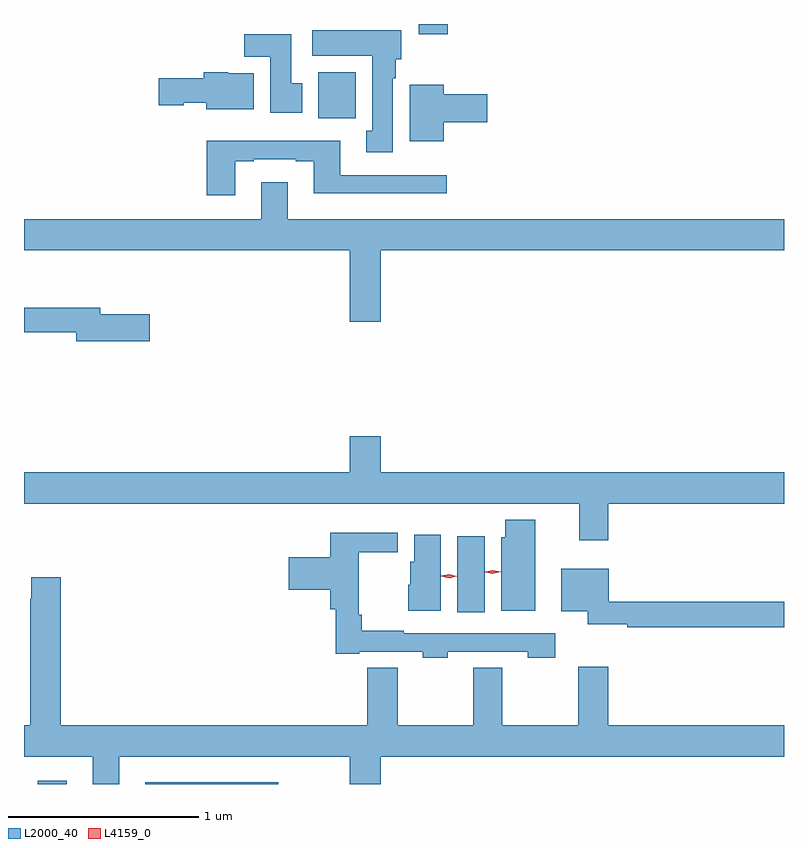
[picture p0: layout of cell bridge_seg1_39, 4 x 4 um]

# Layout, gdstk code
import gdstk
lib = gdstk.Library(unit=1e-6, precision=1e-09)
def R(c, l, rs):  # rectangles x0, y0, x1, y1
    for r in rs: c.add(gdstk.rectangle(r[:2], r[2:], *l))
def P(c, l, *ps):  # polygons
    for p in ps: c.add(gdstk.Polygon(p, *l))
L2000_40 = (2000, 40)
L4159_0 = (4159, 0)

bridge_seg1_39 = lib.new_cell('bridge_seg1_39')
R(bridge_seg1_39, L2000_40, [(1014.515,559.58,1014.667,559.597), (1015.079,559.58,1015.78,559.588), (1016.723,560.484,1016.866,560.884), (1015.991,563.084,1016.188,563.326), (1016.519,563.526,1016.672,563.58)])
P(bridge_seg1_39, L2000_40, [(1016.383,563.294),(1016.398,563.294),(1016.398,563.394),(1016.428,563.394),(1016.428,563.548),(1015.959,563.548),(1015.959,563.414),(1016.276,563.414),(1016.276,563.018),(1016.243,563.018),(1016.243,562.905),(1016.383,562.905)],
  [(1015.906,563.268),(1015.849,563.268),(1015.849,563.527),(1015.6,563.527),(1015.6,563.408),(1015.739,563.408),(1015.739,563.112),(1015.906,563.112)],
  [(1015.651,563.32),(1015.518,563.32),(1015.518,563.326),(1015.388,563.326),(1015.388,563.295),(1015.152,563.295),(1015.152,563.153),(1015.284,563.153),(1015.284,563.165),(1015.4,563.165),(1015.4,563.132),(1015.651,563.132)],
  [(1016.65,563.063),(1016.881,563.063),(1016.881,563.21),(1016.65,563.21),(1016.65,563.26),(1016.471,563.26),(1016.471,562.964),(1016.65,562.964)],
  [(1015.555,562.857),(1015.651,562.857),(1015.651,562.869),(1015.871,562.869),(1015.871,562.857),(1015.967,562.857),(1015.967,562.688),(1016.668,562.688),(1016.668,562.785),(1016.107,562.785),(1016.107,562.966),(1015.403,562.966),(1015.403,562.68),(1015.555,562.68)],
  [(1016.32,562.388),(1018.442,562.388),(1018.442,562.552),(1015.831,562.552),(1015.831,562.747),(1015.691,562.747),(1015.691,562.552),(1014.442,562.552),(1014.442,562.388),(1016.156,562.388),(1016.156,562.014),(1016.32,562.014)],
  [(1015.105,562.053),(1014.844,562.053),(1014.844,562.087),(1014.442,562.087),(1014.442,561.958),(1014.716,561.958),(1014.716,561.911),(1015.105,561.911)],
  [(1017.518,561.056),(1018.442,561.056),(1018.442,561.22),(1016.32,561.22),(1016.32,561.409),(1016.156,561.409),(1016.156,561.22),(1014.442,561.22),(1014.442,561.056),(1017.365,561.056),(1017.365,560.862),(1017.518,560.862)],
  [(1017.133,560.971),(1016.975,560.971),(1016.975,560.88),(1016.954,560.88),(1016.954,560.492),(1017.133,560.492)],
  [(1016.673,560.277),(1017.093,560.277),(1017.093,560.245),(1017.238,560.245),(1017.238,560.373),(1016.441,560.373),(1016.441,560.386),(1016.219,560.386),(1016.219,560.47),(1016.204,560.47),(1016.204,560.8),(1016.41,560.8),(1016.41,560.902),(1016.054,560.902),(1016.054,560.773),(1015.836,560.773),(1015.836,560.603),(1016.054,560.603),(1016.054,560.501),(1016.083,560.501),(1016.083,560.265),(1016.206,560.265),(1016.206,560.277),(1016.541,560.277),(1016.541,560.245),(1016.673,560.245)],
  [(1016.635,560.893),(1016.495,560.893),(1016.495,560.751),(1016.474,560.751),(1016.474,560.628),(1016.465,560.628),(1016.465,560.492),(1016.635,560.492)],
  [(1018.442,560.54),(1017.52,560.54),(1017.52,560.713),(1017.269,560.713),(1017.269,560.489),(1017.41,560.489),(1017.41,560.422),(1017.616,560.422),(1017.616,560.404),(1018.442,560.404)],
  [(1014.943,559.724),(1016.156,559.724),(1016.156,559.58),(1016.32,559.58),(1016.32,559.724),(1018.442,559.724),(1018.442,559.888),(1017.518,559.888),(1017.518,560.197),(1017.358,560.197),(1017.358,559.888),(1016.96,559.888),(1016.96,560.192),(1016.806,560.192),(1016.806,559.888),(1016.408,559.888),(1016.408,560.192),(1016.249,560.192),(1016.249,559.888),(1014.635,559.888),(1014.635,560.668),(1014.479,560.668),(1014.479,560.555),(1014.475,560.555),(1014.475,559.888),(1014.442,559.888),(1014.442,559.724),(1014.803,559.724),(1014.803,559.58),(1014.943,559.58)])
P(bridge_seg1_39, L4159_0, [(1016.91,560.686),(1016.869,560.695),(1016.869,560.695),(1016.869,560.696),(1016.91,560.706),(1016.95,560.696),(1016.95,560.696),(1016.95,560.696)],
  [(1016.679,560.664),(1016.638,560.674),(1016.638,560.674),(1016.638,560.675),(1016.68,560.684),(1016.72,560.674),(1016.72,560.673),(1016.72,560.673)])

lib.write_gds('bridge_seg1_39.gds')
